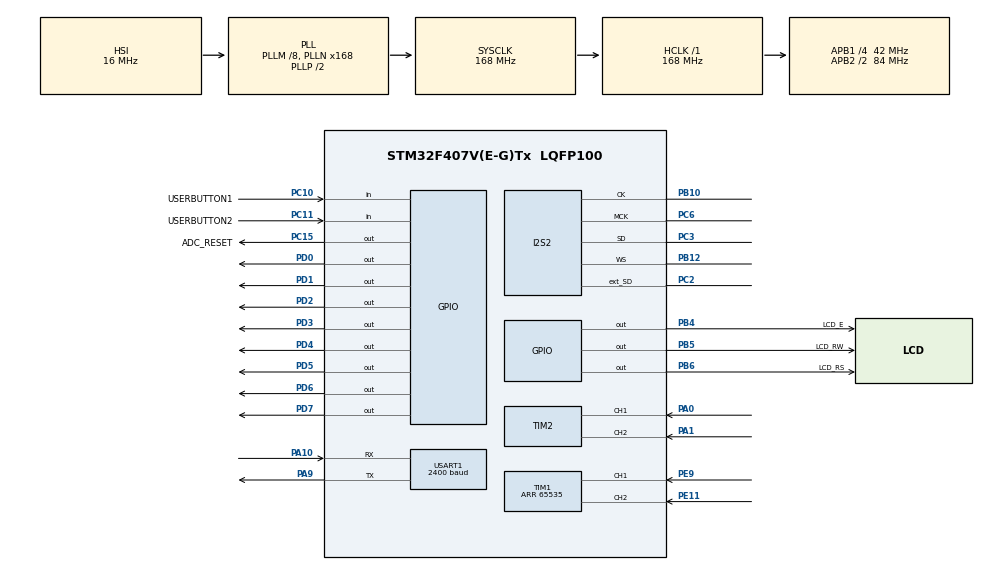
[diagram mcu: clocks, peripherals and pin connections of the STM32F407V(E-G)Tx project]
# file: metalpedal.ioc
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Dma.I2S2_EXT_TX.0.Direction=DMA_MEMORY_TO_PERIPH
Dma.I2S2_EXT_TX.0.FIFOMode=DMA_FIFOMODE_DISABLE
Dma.I2S2_EXT_TX.0.Instance=DMA1_Stream4
Dma.I2S2_EXT_TX.0.MemDataAlignment=DMA_MDATAALIGN_HALFWORD
Dma.I2S2_EXT_TX.0.MemInc=DMA_MINC_ENABLE
Dma.I2S2_EXT_TX.0.Mode=DMA_CIRCULAR
Dma.I2S2_EXT_TX.0.PeriphDataAlignment=DMA_PDATAALIGN_HALFWORD
Dma.I2S2_EXT_TX.0.PeriphInc=DMA_PINC_DISABLE
Dma.I2S2_EXT_TX.0.Priority=DMA_PRIORITY_VERY_HIGH
Dma.Request0=I2S2_EXT_TX
Dma.Request1=SPI2_RX
Dma.SPI2_RX.1.Direction=DMA_PERIPH_TO_MEMORY
Dma.SPI2_RX.1.FIFOMode=DMA_FIFOMODE_DISABLE
Dma.SPI2_RX.1.Instance=DMA1_Stream3
Dma.SPI2_RX.1.MemDataAlignment=DMA_MDATAALIGN_HALFWORD
Dma.SPI2_RX.1.MemInc=DMA_MINC_ENABLE
Dma.SPI2_RX.1.Mode=DMA_CIRCULAR
Dma.SPI2_RX.1.PeriphDataAlignment=DMA_PDATAALIGN_HALFWORD
Dma.SPI2_RX.1.PeriphInc=DMA_PINC_DISABLE
Dma.SPI2_RX.1.Priority=DMA_PRIORITY_VERY_HIGH
I2S2.AudioFreq=I2S_AUDIOFREQ_44K
I2S2.DataFormat=I2S_DATAFORMAT_24B
I2S2.ErrorAudioFreq=10.97 %
I2S2.FullDuplexMode=I2S_FULLDUPLEXMODE_ENABLE
I2S2.Instance=SPI$Index
I2S2.Mode=I2S_MODE_MASTER_RX
I2S2.RealAudioFreq=48.828 KHz
I2S2.Standard=I2S_STANDARD_PHILIPS
I2S2.VirtualMode=I2S_MODE_MASTER
Mcu.Family=STM32F4
Mcu.Name=STM32F407V(E-G)Tx
Mcu.Package=LQFP100
NVIC.DMA1_Stream3_IRQn=true\:0\:0\:false\:false\:true\:false\:true
NVIC.DMA1_Stream4_IRQn=true\:0\:0\:false\:false\:true\:false\:true
NVIC.PriorityGroup=NVIC_PRIORITYGROUP_4
PA0-WKUP.Signal=S_TIM2_CH1_ETR
PA1.Signal=S_TIM2_CH2
PA10.Mode=Asynchronous
PA10.Signal=USART1_RX
PA13.Mode=Serial_Wire
PA13.Signal=SYS_JTMS-SWDIO
PA14.Mode=Serial_Wire
PA14.Signal=SYS_JTCK-SWCLK
PA9.Mode=Asynchronous
PA9.Signal=USART1_TX
PB10.Mode=Full_Duplex_Master
PB10.Signal=I2S2_CK
PB12.Mode=Full_Duplex_Master
PB12.Signal=I2S2_WS
PB4.GPIO_Label=LCD_E
PB4.Signal=GPIO_Output
PB5.GPIO_Label=LCD_RW
PB5.Signal=GPIO_Output
PB6.GPIO_Label=LCD_RS
PB6.Signal=GPIO_Output
PC10.GPIO_Label=USERBUTTON1
PC10.GPIO_PuPd=GPIO_PULLUP
PC10.Signal=GPIO_Input
PC11.GPIO_Label=USERBUTTON2
PC11.GPIO_PuPd=GPIO_PULLUP
PC11.Signal=GPIO_Input
PC15-OSC32_OUT.GPIO_Label=ADC_RESET
PC15-OSC32_OUT.GPIO_ModeDefaultOutputPP=GPIO_MODE_OUTPUT_PP
PC15-OSC32_OUT.GPIO_PuPd=GPIO_NOPULL
PC15-OSC32_OUT.GPIO_Speed=GPIO_SPEED_FREQ_LOW
PC15-OSC32_OUT.PinState=GPIO_PIN_RESET
PC15-OSC32_OUT.Signal=GPIO_Output
PC2.Mode=Full_Duplex_Master
PC2.Signal=I2S2_ext_SD
PC3.Mode=Full_Duplex_Master
PC3.Signal=I2S2_SD
PC6.Mode=Master_Clock_Activated
PC6.Signal=I2S2_MCK
PD0.Signal=GPIO_Output
PD1.Signal=GPIO_Output
PD2.Signal=GPIO_Output
PD3.Signal=GPIO_Output
PD4.Signal=GPIO_Output
PD5.Signal=GPIO_Output
PD6.Signal=GPIO_Output
PD7.Signal=GPIO_Output
PE11.Signal=S_TIM1_CH2
PE9.Signal=S_TIM1_CH1
ProjectManager.HeapSize=0x200
ProjectManager.StackSize=0x400
ProjectManager.TargetToolchain=STM32CubeIDE
RCC.48MHZClocksFreq_Value=84000000
RCC.AHBFreq_Value=168000000
RCC.APB1CLKDivider=RCC_HCLK_DIV4
RCC.APB1Freq_Value=42000000
RCC.APB1TimFreq_Value=84000000
RCC.APB2CLKDivider=RCC_HCLK_DIV2
RCC.APB2Freq_Value=84000000
RCC.APB2TimFreq_Value=168000000
RCC.CortexFreq_Value=168000000
RCC.HCLKFreq_Value=168000000
RCC.HSE_VALUE=25000000
RCC.HSI_VALUE=16000000
RCC.LSE_VALUE=32768
RCC.PLLI2SN=50
RCC.PLLM=8
RCC.PLLN=168
RCC.SYSCLKFreq_VALUE=168000000
RCC.SYSCLKSource=RCC_SYSCLKSOURCE_PLLCLK
RCC.VCOOutputFreq_Value=336000000
SH.S_TIM1_CH1.0=TIM1_CH1,Encoder_Interface
SH.S_TIM1_CH2.0=TIM1_CH2,Encoder_Interface
SH.S_TIM2_CH1_ETR.0=TIM2_CH1,Encoder_Interface
SH.S_TIM2_CH2.0=TIM2_CH2,Encoder_Interface
TIM1.AutoReloadPreload=TIM_AUTORELOAD_PRELOAD_ENABLE
TIM1.EncoderMode=TIM_ENCODERMODE_TI12
TIM1.IC1Filter=10
TIM1.IC2Filter=10
TIM1.Period=65535
USART1.BaudRate=2400
USART1.Parity=PARITY_EVEN
USART1.VirtualMode=VM_ASYNC
USART1.WordLength=WORDLENGTH_9B
board=custom

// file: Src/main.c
/* USER CODE BEGIN Header */
/**
  ******************************************************************************
  * @file           : main.c
  * @brief          : Main program body
  ******************************************************************************
  * @attention
  *
  * <h2><center>&copy; Copyright (c) 2020 STMicroelectronics.
  * All rights reserved.</center></h2>
  *
  * This software component is licensed by ST under BSD 3-Clause license,
  * the "License"; You may not use this file except in compliance with the
  * License. You may obtain a copy of the License at:
  *                        opensource.org/licenses/BSD-3-Clause
  *
  ******************************************************************************
  */
/* USER CODE END Header */
#include "main.h"

I2S_HandleTypeDef hi2s2;
DMA_HandleTypeDef hdma_i2s2_ext_tx;
DMA_HandleTypeDef hdma_spi2_rx;

TIM_HandleTypeDef htim1;
TIM_HandleTypeDef htim2;

UART_HandleTypeDef huart1;

/* USER CODE BEGIN PV */
static volatile uint8_t pData[DMA_BUFFER_SIZE_BYTES]; // DMA input buffer
static volatile uint8_t oData[DMA_BUFFER_SIZE_BYTES]; // DMA output buffer

static volatile int32_t input_buffer[2][BUFFER_SIZE_SAMPLES]; // channel 0 is left, channel 1 is right
static volatile int32_t output_buffer[2][BUFFER_SIZE_SAMPLES];

static volatile uint8_t* volatile validpData; // points to valid (readable) input half-buffer
static volatile uint8_t* volatile validoData; // points to valid (writable) output half-buffer

static volatile uint8_t inout1_INT, inout2_INT;

/* USER CODE END PV */

void SystemClock_Config(void);
static void MX_GPIO_Init(void);
static void MX_I2S2_Init(void);
static void MX_TIM1_Init(void);
static void MX_TIM2_Init(void);
static void MX_DMA_Init(void);
static void MX_USART1_UART_Init(void);

/* USER CODE BEGIN 0 */

void fillInputBuffer()
{
	int i;

	for (i = 0; i < BUFFER_SIZE_SAMPLES; i++) {
		int32_t temp = 0;
		int32_t temp2 = 0;
		temp |= validpData[(8*i) + 1] << 24;
		temp |= validpData[(8*i) + 0] << 16;
		temp |= validpData[(8*i) + 3] << 8;
		temp |= validpData[(8*i) + 2] << 0;

		temp2 |= validpData[(8*i) + 5] << 24;
		temp2 |= validpData[(8*i) + 4] << 16;
		temp2 |= validpData[(8*i) + 7] << 8;
		temp2 |= validpData[(8*i) + 6] << 0;

		input_buffer[1][i] = temp;
		input_buffer[0][i] = temp2;
	}
}
//
void fillOutputBuffer()
{
	int i;

	for (i = 0; i < BUFFER_SIZE_SAMPLES; i++) {
		int32_t temp = output_buffer[1][i]; // Right channel
		int32_t temp2 = output_buffer[0][i]; //Left channel

		validoData[(8*i)+1] = temp >> 24;
		validoData[(8*i)+0] = temp >> 16;
		validoData[(8*i)+3] = temp >> 8;
		validoData[(8*i)+2] = temp >> 0;

		validoData[(8*i)+5] = temp2 >> 24;
		validoData[(8*i)+4] = temp2 >> 16;
		validoData[(8*i)+7] = temp2 >> 8;
		validoData[(8*i)+6] = temp2 >> 0;

	}
}

void processingBlock() {

	int channel;
	int sample;

	int32_t insample,outsample;

	for (channel = 0; channel < 2; channel++) {
		for (sample = 0; sample < BUFFER_SIZE_SAMPLES; sample++) {

			//insample = input_buffer[channel][sample];
			insample = -input_buffer[0][sample]; // mono to stereo
			outsample = insample;

			output_buffer[channel][sample] = outsample;
		}
	}

}

void HAL_I2SEx_TxRxHalfCpltCallback(I2S_HandleTypeDef *hi2s)
{
	inout1_INT = 1;
}

void HAL_I2SEx_TxRxCpltCallback(I2S_HandleTypeDef *hi2s)
{
	inout2_INT = 1;
}

void HAL_I2S_ErrorCallback(I2S_HandleTypeDef *hi2s)
{
	Error_Handler();
}

void ProcessingLoop()
{

		while (!inout1_INT); // wait for half callback
		validpData = pData;
		validoData = oData;
		fillInputBuffer();

		inout1_INT = 0;

		processingBlock();
		fillOutputBuffer();

		while (!inout2_INT); // wait for half callback
		validpData = &pData[DMA_BUFFER_SIZE_BYTES/2];
		validoData = &oData[DMA_BUFFER_SIZE_BYTES/2];
		fillInputBuffer();

		inout2_INT = 0;

		processingBlock();
		fillOutputBuffer();
}

/* USER CODE END 0 */

int main(void)
{

  /* MCU Configuration--------------------------------------------------------*/

  /* Reset of all peripherals, Initializes the Flash interface and the Systick. */
  HAL_Init();

  /* USER CODE BEGIN Init */

  inout1_INT = 0;
  inout2_INT = 0;
  memset(pData,0x00,DMA_BUFFER_SIZE_BYTES);
  memset(oData,0x00,DMA_BUFFER_SIZE_BYTES);

//  input_t inputs;

  /* USER CODE END Init */

  /* Configure the system clock */
  SystemClock_Config();

  /* USER CODE BEGIN SysInit */

  /* DMA controller clock enable */
  __HAL_RCC_DMA1_CLK_ENABLE();

  /* USER CODE END SysInit */

  /* Initialize all configured peripherals */
  MX_GPIO_Init();
  MX_I2S2_Init();
  MX_TIM1_Init();
  MX_TIM2_Init();
  MX_DMA_Init();
  MX_USART1_UART_Init();
  /* USER CODE BEGIN 2 */

  HAL_TIM_Encoder_Start(&htim1,TIM_CHANNEL_ALL);
  HAL_GPIO_WritePin(ADC_RESET_GPIO_Port, ADC_RESET_Pin, GPIO_PIN_RESET);
  HAL_GPIO_WritePin(ADC_RESET_GPIO_Port, ADC_RESET_Pin, GPIO_PIN_SET);
  HAL_Delay(400);

if (HAL_OK != HAL_I2SEx_TransmitReceive_DMA(&hi2s2,(uint16_t*)oData,(uint16_t*)pData,DMA_BUFFER_SIZE))
	Error_Handler();

  /* USER CODE END 2 */

  /* Infinite loop */
  /* USER CODE BEGIN WHILE */
  while (1)
  {

	  ProcessingLoop();

    /* USER CODE END WHILE */

  }
}

void SystemClock_Config(void)
{
  RCC_OscInitTypeDef RCC_OscInitStruct = {0};
  RCC_ClkInitTypeDef RCC_ClkInitStruct = {0};

  /** Configure the main internal regulator output voltage
  */
  __HAL_RCC_PWR_CLK_ENABLE();
  __HAL_PWR_VOLTAGESCALING_CONFIG(PWR_REGULATOR_VOLTAGE_SCALE1);
  /** Initializes the RCC Oscillators according to the specified parameters
  * in the RCC_OscInitTypeDef structure.
  */
  RCC_OscInitStruct.OscillatorType = RCC_OSCILLATORTYPE_HSI;
  RCC_OscInitStruct.HSIState = RCC_HSI_ON;
  RCC_OscInitStruct.HSICalibrationValue = RCC_HSICALIBRATION_DEFAULT;
  RCC_OscInitStruct.PLL.PLLState = RCC_PLL_ON;
  RCC_OscInitStruct.PLL.PLLSource = RCC_PLLSOURCE_HSI;
  RCC_OscInitStruct.PLL.PLLM = 8;
  RCC_OscInitStruct.PLL.PLLN = 168;
  RCC_OscInitStruct.PLL.PLLP = RCC_PLLP_DIV2;
  RCC_OscInitStruct.PLL.PLLQ = 4;
  if (HAL_RCC_OscConfig(&RCC_OscInitStruct) != HAL_OK)
  {
    Error_Handler();
  }
  /** Initializes the CPU, AHB and APB buses clocks
  */
  RCC_ClkInitStruct.ClockType = RCC_CLOCKTYPE_HCLK|RCC_CLOCKTYPE_SYSCLK
                              |RCC_CLOCKTYPE_PCLK1|RCC_CLOCKTYPE_PCLK2;
  RCC_ClkInitStruct.SYSCLKSource = RCC_SYSCLKSOURCE_PLLCLK;
  RCC_ClkInitStruct.AHBCLKDivider = RCC_SYSCLK_DIV1;
  RCC_ClkInitStruct.APB1CLKDivider = RCC_HCLK_DIV4;
  RCC_ClkInitStruct.APB2CLKDivider = RCC_HCLK_DIV2;

  if (HAL_RCC_ClockConfig(&RCC_ClkInitStruct, FLASH_LATENCY_5) != HAL_OK)
  {
    Error_Handler();
  }
}

static void MX_I2S2_Init(void)
{

  /* USER CODE BEGIN I2S2_Init 0 */
  hi2s2.hdmarx = &hdma_spi2_rx;
  HAL_I2S_MspInit(&hi2s2);
  /* USER CODE END I2S2_Init 0 */

  hi2s2.Instance = SPI2;
  hi2s2.Init.Mode = I2S_MODE_MASTER_RX;
  hi2s2.Init.Standard = I2S_STANDARD_PHILIPS;
  hi2s2.Init.DataFormat = I2S_DATAFORMAT_24B;
  hi2s2.Init.MCLKOutput = I2S_MCLKOUTPUT_ENABLE;
  hi2s2.Init.AudioFreq = I2S_AUDIOFREQ_44K;
  hi2s2.Init.CPOL = I2S_CPOL_LOW;
  hi2s2.Init.ClockSource = I2S_CLOCK_PLL;
  hi2s2.Init.FullDuplexMode = I2S_FULLDUPLEXMODE_ENABLE;
  if (HAL_I2S_Init(&hi2s2) != HAL_OK)
  {
    Error_Handler();
  }

}

static void MX_TIM1_Init(void)
{

  TIM_Encoder_InitTypeDef sConfig = {0};
  TIM_MasterConfigTypeDef sMasterConfig = {0};

  htim1.Instance = TIM1;
  htim1.Init.Prescaler = 0;
  htim1.Init.CounterMode = TIM_COUNTERMODE_UP;
  htim1.Init.Period = 65535;
  htim1.Init.ClockDivision = TIM_CLOCKDIVISION_DIV1;
  htim1.Init.RepetitionCounter = 0;
  htim1.Init.AutoReloadPreload = TIM_AUTORELOAD_PRELOAD_ENABLE;
  sConfig.EncoderMode = TIM_ENCODERMODE_TI12;
  sConfig.IC1Polarity = TIM_ICPOLARITY_RISING;
  sConfig.IC1Selection = TIM_ICSELECTION_DIRECTTI;
  sConfig.IC1Prescaler = TIM_ICPSC_DIV1;
  sConfig.IC1Filter = 10;
  sConfig.IC2Polarity = TIM_ICPOLARITY_RISING;
  sConfig.IC2Selection = TIM_ICSELECTION_DIRECTTI;
  sConfig.IC2Prescaler = TIM_ICPSC_DIV1;
  sConfig.IC2Filter = 10;
  if (HAL_TIM_Encoder_Init(&htim1, &sConfig) != HAL_OK)
  {
    Error_Handler();
  }
  sMasterConfig.MasterOutputTrigger = TIM_TRGO_RESET;
  sMasterConfig.MasterSlaveMode = TIM_MASTERSLAVEMODE_DISABLE;
  if (HAL_TIMEx_MasterConfigSynchronization(&htim1, &sMasterConfig) != HAL_OK)
  {
    Error_Handler();
  }

}

static void MX_TIM2_Init(void)
{

  TIM_Encoder_InitTypeDef sConfig = {0};
  TIM_MasterConfigTypeDef sMasterConfig = {0};

  htim2.Instance = TIM2;
  htim2.Init.Prescaler = 0;
  htim2.Init.CounterMode = TIM_COUNTERMODE_UP;
  htim2.Init.Period = 4294967295;
  htim2.Init.ClockDivision = TIM_CLOCKDIVISION_DIV1;
  htim2.Init.AutoReloadPreload = TIM_AUTORELOAD_PRELOAD_DISABLE;
  sConfig.EncoderMode = TIM_ENCODERMODE_TI1;
  sConfig.IC1Polarity = TIM_ICPOLARITY_RISING;
  sConfig.IC1Selection = TIM_ICSELECTION_DIRECTTI;
  sConfig.IC1Prescaler = TIM_ICPSC_DIV1;
  sConfig.IC1Filter = 0;
  sConfig.IC2Polarity = TIM_ICPOLARITY_RISING;
  sConfig.IC2Selection = TIM_ICSELECTION_DIRECTTI;
  sConfig.IC2Prescaler = TIM_ICPSC_DIV1;
  sConfig.IC2Filter = 0;
  if (HAL_TIM_Encoder_Init(&htim2, &sConfig) != HAL_OK)
  {
    Error_Handler();
  }
  sMasterConfig.MasterOutputTrigger = TIM_TRGO_RESET;
  sMasterConfig.MasterSlaveMode = TIM_MASTERSLAVEMODE_DISABLE;
  if (HAL_TIMEx_MasterConfigSynchronization(&htim2, &sMasterConfig) != HAL_OK)
  {
    Error_Handler();
  }

}

static void MX_USART1_UART_Init(void)
{

  huart1.Instance = USART1;
  huart1.Init.BaudRate = 2400;
  huart1.Init.WordLength = UART_WORDLENGTH_9B;
  huart1.Init.StopBits = UART_STOPBITS_1;
  huart1.Init.Parity = UART_PARITY_EVEN;
  huart1.Init.Mode = UART_MODE_TX_RX;
  huart1.Init.HwFlowCtl = UART_HWCONTROL_NONE;
  huart1.Init.OverSampling = UART_OVERSAMPLING_16;
  if (HAL_UART_Init(&huart1) != HAL_OK)
  {
    Error_Handler();
  }

}

static void MX_DMA_Init(void)
{

  /* DMA controller clock enable */
  __HAL_RCC_DMA1_CLK_ENABLE();

  /* DMA interrupt init */
  /* DMA1_Stream3_IRQn interrupt configuration */
  HAL_NVIC_SetPriority(DMA1_Stream3_IRQn, 0, 0);
  HAL_NVIC_EnableIRQ(DMA1_Stream3_IRQn);
  /* DMA1_Stream4_IRQn interrupt configuration */
  HAL_NVIC_SetPriority(DMA1_Stream4_IRQn, 0, 0);
  HAL_NVIC_EnableIRQ(DMA1_Stream4_IRQn);

}

static void MX_GPIO_Init(void)
{
  GPIO_InitTypeDef GPIO_InitStruct = {0};

  /* GPIO Ports Clock Enable */
  __HAL_RCC_GPIOC_CLK_ENABLE();
  __HAL_RCC_GPIOA_CLK_ENABLE();
  __HAL_RCC_GPIOE_CLK_ENABLE();
  __HAL_RCC_GPIOB_CLK_ENABLE();
  __HAL_RCC_GPIOD_CLK_ENABLE();

  /*Configure GPIO pin Output Level */
  HAL_GPIO_WritePin(ADC_RESET_GPIO_Port, ADC_RESET_Pin, GPIO_PIN_RESET);

  /*Configure GPIO pin Output Level */
  HAL_GPIO_WritePin(GPIOD, GPIO_PIN_0|GPIO_PIN_1|GPIO_PIN_2|GPIO_PIN_3
                          |GPIO_PIN_4|GPIO_PIN_5|GPIO_PIN_6|GPIO_PIN_7, GPIO_PIN_RESET);

  /*Configure GPIO pin Output Level */
  HAL_GPIO_WritePin(GPIOB, LCD_E_Pin|LCD_RW_Pin|LCD_RS_Pin, GPIO_PIN_RESET);

  /*Configure GPIO pin : ADC_RESET_Pin */
  GPIO_InitStruct.Pin = ADC_RESET_Pin;
  GPIO_InitStruct.Mode = GPIO_MODE_OUTPUT_PP;
  GPIO_InitStruct.Pull = GPIO_NOPULL;
  GPIO_InitStruct.Speed = GPIO_SPEED_FREQ_LOW;
  HAL_GPIO_Init(ADC_RESET_GPIO_Port, &GPIO_InitStruct);

  /*Configure GPIO pins : USERBUTTON1_Pin USERBUTTON2_Pin */
  GPIO_InitStruct.Pin = USERBUTTON1_Pin|USERBUTTON2_Pin;
  GPIO_InitStruct.Mode = GPIO_MODE_INPUT;
  GPIO_InitStruct.Pull = GPIO_PULLUP;
  HAL_GPIO_Init(GPIOC, &GPIO_InitStruct);

  /*Configure GPIO pins : PD0 PD1 PD2 PD3
                           PD4 PD5 PD6 PD7 */
  GPIO_InitStruct.Pin = GPIO_PIN_0|GPIO_PIN_1|GPIO_PIN_2|GPIO_PIN_3
                          |GPIO_PIN_4|GPIO_PIN_5|GPIO_PIN_6|GPIO_PIN_7;
  GPIO_InitStruct.Mode = GPIO_MODE_OUTPUT_PP;
  GPIO_InitStruct.Pull = GPIO_NOPULL;
  GPIO_InitStruct.Speed = GPIO_SPEED_FREQ_LOW;
  HAL_GPIO_Init(GPIOD, &GPIO_InitStruct);

  /*Configure GPIO pins : LCD_E_Pin LCD_RW_Pin LCD_RS_Pin */
  GPIO_InitStruct.Pin = LCD_E_Pin|LCD_RW_Pin|LCD_RS_Pin;
  GPIO_InitStruct.Mode = GPIO_MODE_OUTPUT_PP;
  GPIO_InitStruct.Pull = GPIO_NOPULL;
  GPIO_InitStruct.Speed = GPIO_SPEED_FREQ_LOW;
  HAL_GPIO_Init(GPIOB, &GPIO_InitStruct);

}

void Error_Handler(void)
{
  /* USER CODE BEGIN Error_Handler_Debug */
  /* User can add his own implementation to report the HAL error return state */
  while(1);
  /* USER CODE END Error_Handler_Debug */
}

/************************ (C) COPYRIGHT STMicroelectronics *****END OF FILE****/
